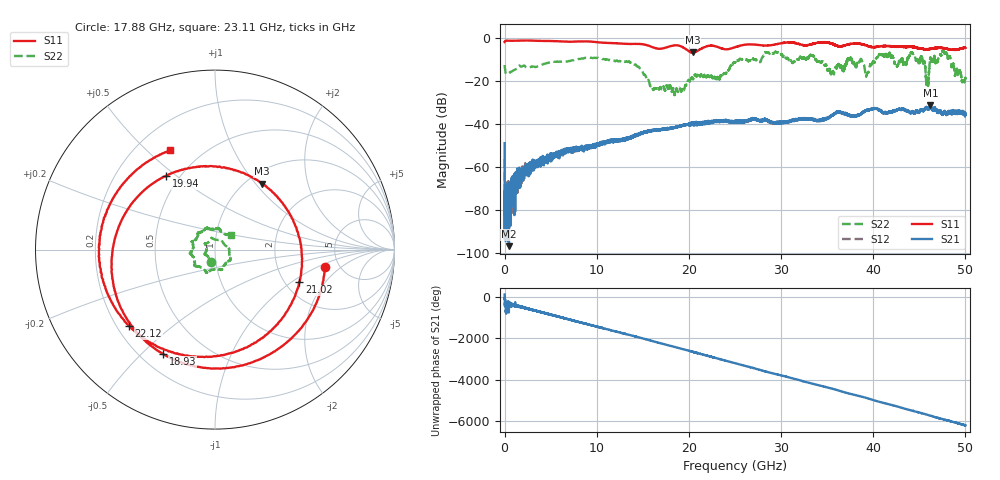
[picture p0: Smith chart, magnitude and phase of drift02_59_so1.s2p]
!Created with skrf (http://scikit-rf.org).
# Hz S RI R 50.0
!freq ReS11 ImS11 ReS21 ImS21 ReS12 ImS12 ReS22 ImS22
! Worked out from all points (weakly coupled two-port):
!   10001 points, 300 kHz to 50 GHz, reference 50 ohm
!   highest |S21| = -31.37 dB at 46.2 GHz (marker M1); lowest = -96.9 dB at 470.3 MHz (marker M2)
!   lowest |S11| = -6.9 dB at 20.44 GHz (marker M3), VSWR 2.64, Z = 58.5 + j54 ohm
!   |S11| at or under -10 dB: nowhere
!   |S22| runs from -26.7 to -6.0 dB; largest |S21 - S12| = 0.0038
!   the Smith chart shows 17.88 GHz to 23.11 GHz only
!   S11 on the Smith chart (normalised r, x): 17.88 GHz: 3.85, -1.24; 18.93 GHz: 0.29, -0.58; 19.94 GHz: 0.42, +0.46; 21.02 GHz: 2.38, -1.16; 22.12 GHz: 0.25, -0.36; 23.11 GHz: 0.34, +0.59
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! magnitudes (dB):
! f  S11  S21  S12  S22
! 300 kHz  -2.1  -49.1  -56.6  -12.8
! 255.3 MHz  -1.4  -89.2  -82.4  -17.0
! 470.3 MHz  -1.5  -96.9  -77.1  -16.5
! 3.08 GHz  -1.4  -59.0  -58.8  -13.5
! 8.335 GHz  -1.7  -51.4  -51.7  -9.7
! 13.71 GHz  -3.0  -47.0  -46.2  -11.7
! 16.67 GHz  -5.2  -42.7  -42.8  -23.7
! 17.88 GHz  -4.1  -42.5  -42.1  -22.5
! 18.93 GHz  -3.7  -41.4  -41.4  -23.5
! 19.94 GHz  -6.1  -40.1  -40.2  -19.8
! 20.44 GHz  -6.9  -40.3  -40.2  -19.2
! 21.02 GHz  -6.0  -39.8  -40.1  -16.8
! 22.12 GHz  -3.9  -39.4  -39.9  -17.5
! 23.11 GHz  -4.3  -38.4  -39.2  -18.5
! 25 GHz  -4.5  -38.9  -38.8  -11.6
! 33.34 GHz  -3.0  -38.1  -38.0  -8.4
! 39.33 GHz  -3.8  -33.7  -33.7  -16.6
! 41.67 GHz  -3.9  -34.6  -34.7  -7.8
! 45.86 GHz  -5.4  -33.2  -33.1  -18.9
! 46.2 GHz  -5.2  -31.4  -31.6  -9.4
! 47.75 GHz  -4.9  -34.5  -34.3  -7.2
! 50 GHz  -4.8  -35.9  -36.1  -19.3
